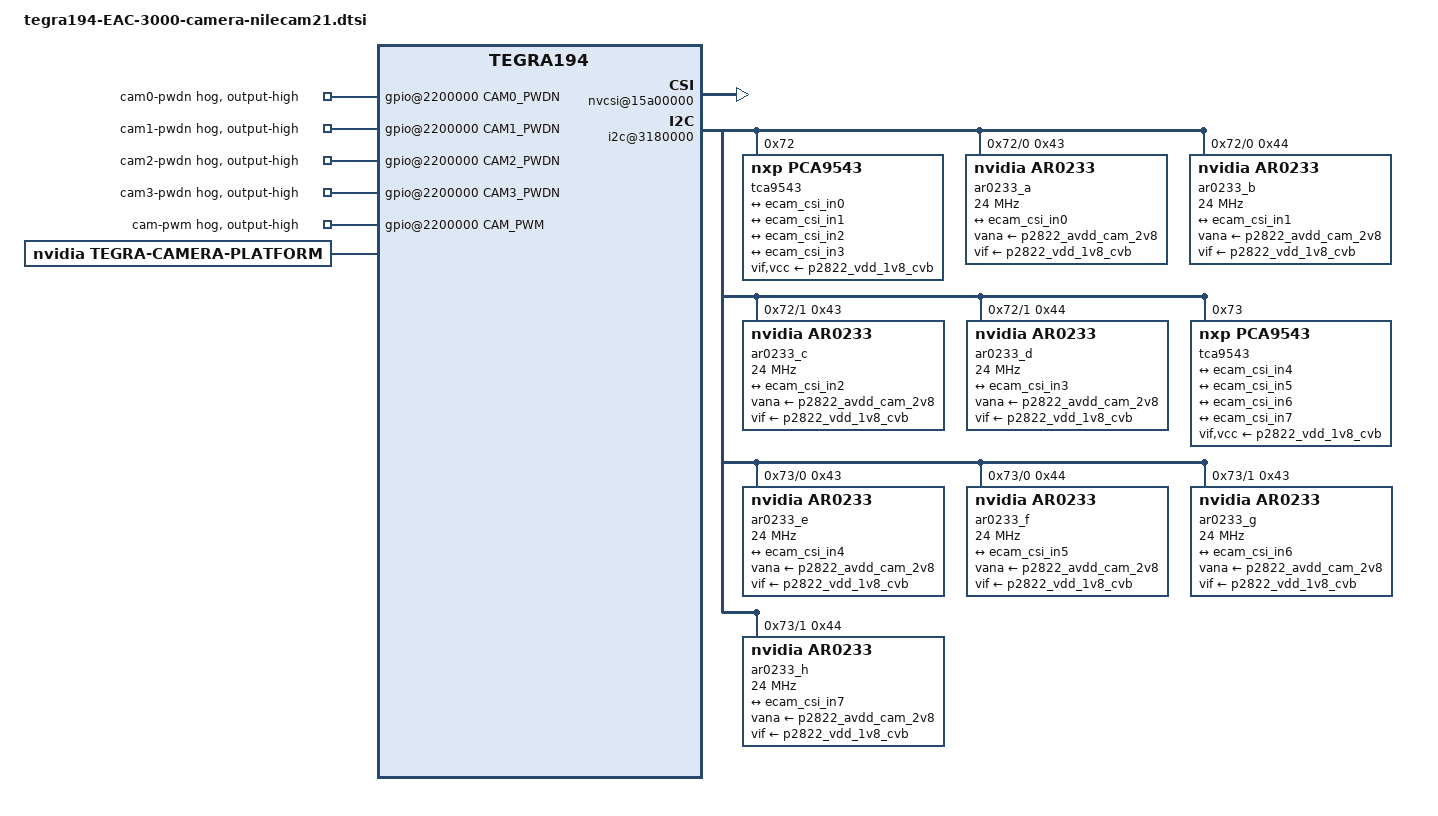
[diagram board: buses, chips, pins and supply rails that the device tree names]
/* Econ device tree for AR0233 support */

#include "dt-bindings/clock/tegra194-clock.h"

#define CAM0_PWDN	TEGRA194_MAIN_GPIO(H, 6)
#define CAM1_PWDN	TEGRA194_MAIN_GPIO(T, 5)
#define CAM2_PWDN	TEGRA194_MAIN_GPIO(H, 3)
#define CAM3_PWDN	TEGRA194_MAIN_GPIO(T, 6)
#define CAM_PWM	TEGRA194_MAIN_GPIO(P, 5)
#define CAM_I2C_MUX 	TEGRA194_AON_GPIO(CC, 3)
#define CAMERA_I2C_MUX_BUS(x) (0x1E + x)

#define CAM_LANES 4
#define CAM_LANES_STRING "4"

/ {
	gpio@2200000 {
		camera-control-0_output-high {
                        status = "okay";
                        gpio-hog;
                        gpios = <CAM0_PWDN 0>;
                        output-high;
                        label = "cam0-pwdn";
                };
		camera-control-1_output-high {
                        status = "okay";
                        gpio-hog;
                        gpios = <CAM1_PWDN 0>;
                        output-high;
                        label = "cam1-pwdn";
                };
		camera-control-2_output-high {
                        status = "okay";
                        gpio-hog;
                        gpios = <CAM2_PWDN 0>;
                        output-high;
                        label = "cam2-pwdn";
                };
		camera-control-3_output-high {
                        status = "okay";
                        gpio-hog;
                        gpios = <CAM3_PWDN 0>;
                        output-high;
                        label = "cam3-pwdn";
                };
		camera-control-4_output-high {
                        status = "okay";
                        gpio-hog;
                        gpios = <CAM_PWM 0>;
                        output-high;
                        label = "cam-pwm";
                };
	};
     
    // all cameras are disabled by default 
     capture_vi_base: tegra-capture-vi  {
			num-channels = <8>;
			#address-cells = <1>;
			#size-cells = <0>;
			status = "okay";
			ports {
				#address-cells = <1>;
				#size-cells = <0>;
				port@0 {
					reg = <0>;
					status = "okay";
					ecam_vi_in0: endpoint {
						status = "okay";
						vc-id = <1>;
						port-index = <0>;
						bus-width = <CAM_LANES>;
						remote-endpoint = <&ecam_csi_out0>;
					};
				};
				port@1 {
                                        reg = <1>;
					status = "okay";
                                        ecam_vi_in1: endpoint {
						status = "okay";
						vc-id = <0>;
                                                port-index = <0>;
                                                bus-width = <CAM_LANES>;
                                                remote-endpoint = <&ecam_csi_out1>;
                                        };
                                };
                                port@2 {
                                        reg = <2>;
					status = "okay";
                                        ecam_vi_in2: endpoint {
						status = "okay";
						vc-id = <1>;
                                                port-index = <2>;
                                                bus-width = <CAM_LANES>;
                                                remote-endpoint = <&ecam_csi_out2>;
                                        };
                                };
				port@3 {
                                        reg = <3>;
					status = "okay";
                                        ecam_vi_in3: endpoint {
						status = "okay";
						vc-id = <0>;
                                                port-index = <2>;
                                                bus-width = <CAM_LANES>;
                                                remote-endpoint = <&ecam_csi_out3>;
                                        };
                                };
				port@4 {
                                        reg = <4>;
					status = "okay";
                                        ecam_vi_in4: endpoint {
						status = "okay";
						vc-id = <1>;
                                                port-index = <4>;
                                                bus-width = <CAM_LANES>;
                                                remote-endpoint = <&ecam_csi_out4>;
                                        };
                                };
				port@5 {
                                        reg = <5>;
					 status = "okay";
                                        ecam_vi_in5: endpoint {
						status = "okay";
						vc-id = <0>;
                                                port-index = <4>;
                                                bus-width = <CAM_LANES>;
                                                remote-endpoint = <&ecam_csi_out5>;
                                        };
                                };
				port@6 {
                                        reg = <6>;
					status = "okay";
                                        ecam_vi_in6: endpoint {
						status = "okay";
						//vc-id = <1>;
                                                port-index = <5>;
                                                bus-width = <CAM_LANES>;
                                                remote-endpoint = <&ecam_csi_out6>;
                                        };
                                };
				port@7 {
                                        reg = <7>;
					status = "okay";
                                        ecam_vi_in7: endpoint {
						status = "okay";
						vc-id = <0>;
                                                port-index = <5>;
                                                bus-width = <CAM_LANES>;
                                                remote-endpoint = <&ecam_csi_out7>;
                                        };
                                };

			};
		};

	host1x@13e00000 {

		nvcsi@15a00000 {
			num-channels = <8>;
			#address-cells = <1>;
			#size-cells = <0>;
			status = "okay";
	    		channel@0 {
				reg = <0>;
				status = "okay";
				ports {
					#address-cells = <1>;
					#size-cells = <0>;
					port@0 {
						reg = <0>;
						status = "okay";
						ecam_csi_in0: endpoint@0 {
							status = "okay";
							port-index = <0>;
							bus-width = <CAM_LANES>;
							remote-endpoint = <&ecam_ar0233_out0>;
						};
					};
					port@1 {
						reg = <1>;
						status = "okay";
						ecam_csi_out0: endpoint@1 {
							status = "okay";
							remote-endpoint = <&ecam_vi_in0>;
						};
					};
				};
			};
                        channel@1 {
                                reg = <1>;
				status = "okay";
                                ports {
                                        #address-cells = <1>;
                                        #size-cells = <0>;
                                        port@0 {
                                                reg = <0>;
						status = "okay";
                                                ecam_csi_in1: endpoint@2 {
							status = "okay";
                                                        port-index = <0>;
                                                        bus-width = <CAM_LANES>;
                                                        remote-endpoint = <&ecam_ar0233_out1>;
                                                };
                                        };
                                        port@1 {
                                                reg = <1>;
						status = "okay";
                                                ecam_csi_out1: endpoint@3 {
							status = "okay";
                                                        remote-endpoint = <&ecam_vi_in1>;
                                                };
                                        };
                                };
                        };
                        channel@2 {
                                reg = <2>;
				status = "okay";
                                ports {
                                        #address-cells = <1>;
                                        #size-cells = <0>;
                                        port@0 {
                                                reg = <0>;
						status = "okay";
                                                ecam_csi_in2: endpoint@4 {
							status = "okay";
                                                        port-index = <2>;
                                                        bus-width = <CAM_LANES>;
                                                        remote-endpoint = <&ecam_ar0233_out2>;
                                                };
                                        };
                                        port@1 {
                                                reg = <1>;
						status = "okay";
                                                ecam_csi_out2: endpoint@5 {
							status = "okay";
                                                        remote-endpoint = <&ecam_vi_in2>;
                                                };
                                        };
                                };
                        };
			channel@3 {
                                reg = <3>;
				status = "okay";
                                ports {
                                        #address-cells = <1>;
                                        #size-cells = <0>;
                                        port@0 {
                                                reg = <0>;
						status = "okay";
                                                ecam_csi_in3: endpoint@6 {
							status = "okay";
                                                        port-index = <2>;
                                                        bus-width = <CAM_LANES>;
                                                        remote-endpoint = <&ecam_ar0233_out3>;
                                                };
                                        };
                                        port@1 {
                                                reg = <1>;
						status = "okay";
                                                ecam_csi_out3: endpoint@7 {
							status = "okay";
                                                        remote-endpoint = <&ecam_vi_in3>;
                                                };
                                        };
                                };
                        };
			channel@4 {
                                reg = <4>;
				status = "okay";
                                ports {
                                        #address-cells = <1>;
                                        #size-cells = <0>;
                                        port@0 {
                                                reg = <0>;
						status = "okay";
                                                ecam_csi_in4: endpoint@8 {
							status = "okay";
                                                        port-index = <4>;
                                                        bus-width = <CAM_LANES>;
                                                        remote-endpoint = <&ecam_ar0233_out4>;
                                                };
                                        };
                                        port@1 {
                                                reg = <1>;
						status = "okay";
                                                ecam_csi_out4: endpoint@9 {
							status = "okay";
                                                        remote-endpoint = <&ecam_vi_in4>;
                                                };
                                        };
                                };
                        };
			channel@5 {
				reg = <5>;
				status = "okay";
				ports {
					#address-cells = <1>;
					#size-cells = <0>;
					port@0 {
						reg = <0>;
						status = "okay";
						ecam_csi_in5: endpoint@10 {
							status = "okay";
							port-index = <4>;
							bus-width = <CAM_LANES>;
							remote-endpoint = <&ecam_ar0233_out5>;
						};
					};
					port@1 {
						reg = <1>;
						status = "okay";
						ecam_csi_out5: endpoint@11 {
							status = "okay";
							remote-endpoint = <&ecam_vi_in5>;
						};
					};
				};
			};
			channel@6 {
				reg = <6>;
				status = "okay";
				ports {
					#address-cells = <1>;
					#size-cells = <0>;
					port@0 {
						reg = <0>;
						status = "okay";
						ecam_csi_in6: endpoint@12 {
							status = "okay";
							port-index = <6>;
							bus-width = <CAM_LANES>;
							remote-endpoint = <&ecam_ar0233_out6>;
						};
					};
					port@1 {
						reg = <1>;
						status = "okay";
						ecam_csi_out6: endpoint@13 {
							status = "okay";
							remote-endpoint = <&ecam_vi_in6>;
						};
					};
				};
			};
			channel@7 {
				reg = <7>;
				status = "okay";
				ports {
					#address-cells = <1>;
					#size-cells = <0>;
					port@0 {
						reg = <0>;
						status = "okay";
						ecam_csi_in7: endpoint@14 {
							status = "okay";
							port-index = <6>;
							bus-width = <CAM_LANES>;
							remote-endpoint = <&ecam_ar0233_out7>;
						};
					};
					port@1 {
						reg = <1>;	
						status = "okay";
						ecam_csi_out7: endpoint@15 {
							status = "okay";
							remote-endpoint = <&ecam_vi_in7>;
						};
					};
				};
			};

		};
	};

	fixed-regulators {
			p2822_vdd_1v8_cvb: regulator@102 {
					regulator-always-on;
			};
	};


	i2c@3180000 {
		status = "okay";
		#address-cells = <1>;
		#size-cells = <0>;
		tca9543@72 {
			compatible = "nxp,pca9543";
			reg = <0x72>;
			#address-cells = <1>;
			#size-cells = <0>;
			vif-supply = <&p2822_vdd_1v8_cvb>;
			vcc-supply = <&p2822_vdd_1v8_cvb>;
			skip_mux_detect;
			force_bus_start = <CAMERA_I2C_MUX_BUS(0)>;
			i2c@0 {
				reg = <0>;
				i2c-mux,deselect-on-exit;
				#address-cells = <1>;
				#size-cells = <0>;
				status = "okay";
				ar0233_a@43 {
					status = "okay";
					compatible = "nvidia,ar0233";
					reg = <0x43>;
					sensor_model ="ar0233";
					avdd-reg = "vana";
					iovdd-reg = "vif";
					clocks = <&bpmp_clks  TEGRA194_CLK_EXTPERIPH1>,
							 <&bpmp_clks TEGRA194_CLK_PLLP_OUT0>;
					clock-names = "extperiph1", "pllp_grtba";
					mclk = "extperiph1";
					clock-frequency = <24000000>;
					//reset-gpios = <&tegra_main_gpio CAM0_PWDN GPIO_ACTIVE_HIGH>;
					vana-supply = <&p2822_avdd_cam_2v8>;
					vif-supply = <&p2822_vdd_1v8_cvb>;
					use_sensor_mode_id = "false";
					camera_mipi_lanes = <2>;
					sio-port = "A";
#define VC_ID "1"				
#define TEGRA_SINTERFACE "serial_a"
#include "nilecam21_cuxvr_mode.dtsi"
					ports {
						#address-cells = <1>;
						#size-cells = <0>;
						port@0 {
							reg = <0>;
							ecam_ar0233_out0: endpoint {
								vc-id = <1>;
								port-index = <0>;
								bus-width = <CAM_LANES>;
								remote-endpoint = <&ecam_csi_in0>;
								};
							};
						};
					};
				ar0233_b@44 {
					status = "okay";
					compatible = "nvidia,ar0233";
					reg = <0x44>;
					//reg_mux = <0>;
					sensor_model ="ar0233";
					avdd-reg = "vana";
					iovdd-reg = "vif";
					clocks = <&bpmp_clks  TEGRA194_CLK_EXTPERIPH1>,
							 <&bpmp_clks TEGRA194_CLK_PLLP_OUT0>;
					clock-names = "extperiph1", "pllp_grtba";
					mclk = "extperiph1";
					clock-frequency = <24000000>;
				        //reset-gpios = <&tegra_main_gpio CAM0_PWDN GPIO_ACTIVE_HIGH>; 
					vana-supply = <&p2822_avdd_cam_2v8>;
					vif-supply = <&p2822_vdd_1v8_cvb>;
					use_sensor_mode_id = "false";
					camera_mipi_lanes = <2>;	
					sio-port = "B";
#undef VC_ID
#define VC_ID "0"		
#undef TEGRA_SINTERFACE	
#define TEGRA_SINTERFACE "serial_a"
#include "nilecam21_cuxvr_mode.dtsi"
					ports {
						#address-cells = <1>;
						#size-cells = <0>;
						port@0 {
							reg = <0>;
							ecam_ar0233_out1: endpoint {
								vc-id = <0>;
								port-index = <0>;
								bus-width = <CAM_LANES>;
								remote-endpoint = <&ecam_csi_in1>;
								};
							};
						};
					};
				};

			i2c@1 {
				reg = <1>;
				i2c-mux,deselect-on-exit;
				#address-cells = <1>;
				#size-cells = <0>;
				status = "okay";
				ar0233_c@43 {
					status = "okay";
					compatible = "nvidia,ar0233";
					reg = <0x43>;
					//reg_mux = <1>;
					sensor_model ="ar0233";
					avdd-reg = "vana";
					iovdd-reg = "vif";
					clocks = <&bpmp_clks  TEGRA194_CLK_EXTPERIPH1>,
							 <&bpmp_clks TEGRA194_CLK_PLLP_OUT0>;
					clock-names = "extperiph1", "pllp_grtba";
					mclk = "extperiph1";
					clock-frequency = <24000000>;
					//reset-gpios = <&tegra_main_gpio CAM1_PWDN GPIO_ACTIVE_HIGH>;
					vana-supply = <&p2822_avdd_cam_2v8>;
					vif-supply = <&p2822_vdd_1v8_cvb>;
					use_sensor_mode_id = "false";
					camera_mipi_lanes = <2>;
					sio-port = "A";
#undef VC_ID
#define VC_ID "1"	
#undef TEGRA_SINTERFACE	
#define TEGRA_SINTERFACE "serial_c"
#include "nilecam21_cuxvr_mode.dtsi"	
					ports {
						#address-cells = <1>;
						#size-cells = <0>;
						port@0 {
							reg = <0>;
							ecam_ar0233_out2: endpoint {
								vc-id = <1>;
								port-index = <2>;
								bus-width = <CAM_LANES>;
								remote-endpoint = <&ecam_csi_in2>;
								};
							};
						};
				};
				ar0233_d@44 {
					status = "okay";
					compatible = "nvidia,ar0233";
					reg = <0x44>;
					//reg_mux = <1>;
					sensor_model ="ar0233";
					avdd-reg = "vana";
					iovdd-reg = "vif";
					clocks = <&bpmp_clks  TEGRA194_CLK_EXTPERIPH1>,
							 <&bpmp_clks TEGRA194_CLK_PLLP_OUT0>;
					clock-names = "extperiph1", "pllp_grtba";
					mclk = "extperiph1";
					clock-frequency = <24000000>;
					//reset-gpios = <&tegra_main_gpio CAM1_PWDN GPIO_ACTIVE_HIGH>;
					vana-supply = <&p2822_avdd_cam_2v8>;
					vif-supply = <&p2822_vdd_1v8_cvb>;
					use_sensor_mode_id = "true";
					camera_mipi_lanes = <2>;	
					sio-port = "B";
#undef VC_ID
#define VC_ID "0"	
#undef TEGRA_SINTERFACE	
#define TEGRA_SINTERFACE "serial_c"
#include "nilecam21_cuxvr_mode.dtsi"	
					ports {
						#address-cells = <1>;
						#size-cells = <0>;
						port@0 {
							reg = <0>;
							ecam_ar0233_out3: endpoint {
								vc-id = <0>;
								port-index = <2>;
								bus-width = <CAM_LANES>;
								remote-endpoint = <&ecam_csi_in3>;
								};
							};
						};
					};
				};
			};
		tca9543@73 {
			compatible = "nxp,pca9543";
			reg = <0x73>;
			#address-cells = <1>;
			#size-cells = <0>;
			skip_mux_detect;
			vif-supply = <&p2822_vdd_1v8_cvb>;
			vcc-supply = <&p2822_vdd_1v8_cvb>;
			vcc_lp = "vcc";
			force_bus_start = <CAMERA_I2C_MUX_BUS(2)>;
			i2c@0 {
				reg = <0>;
				i2c-mux,deselect-on-exit;
				#address-cells = <1>;
				#size-cells = <0>;
				status = "okay";
				ar0233_e@43 {
					status = "okay";
					compatible = "nvidia,ar0233";
					reg = <0x43>;
					sensor_model ="ar0233";
					avdd-reg = "vana";
					iovdd-reg = "vif";
					clocks = <&bpmp_clks  TEGRA194_CLK_EXTPERIPH1>,
							 <&bpmp_clks TEGRA194_CLK_PLLP_OUT0>;
					clock-names = "extperiph1", "pllp_grtba";
					mclk = "extperiph1";
					clock-frequency = <24000000>;
					//reset-gpios = <&tegra_main_gpio CAM2_PWDN GPIO_ACTIVE_HIGH>;
 					vana-supply = <&p2822_avdd_cam_2v8>;
					vif-supply = <&p2822_vdd_1v8_cvb>;
					use_sensor_mode_id = "false";
					camera_mipi_lanes = <2>;	
					sio-port = "A";
#undef VC_ID
#define VC_ID "1"	
#undef TEGRA_SINTERFACE	
#define TEGRA_SINTERFACE "serial_e"
#include "nilecam21_cuxvr_mode.dtsi"	
					ports {
						#address-cells = <1>;
						#size-cells = <0>;
						port@0 {
							reg = <0>;
							ecam_ar0233_out4: endpoint {
								vc-id = <1>;
								port-index = <4>;
								bus-width = <CAM_LANES>;
								remote-endpoint = <&ecam_csi_in4>;
								};
							};
						};
					};
				ar0233_f@44 {
					status = "okay";
					compatible = "nvidia,ar0233";
					reg = <0x44>;
					//reg_mux = <2>;
					sensor_model ="ar0233";
					avdd-reg = "vana";
					iovdd-reg = "vif";
					clocks = <&bpmp_clks  TEGRA194_CLK_EXTPERIPH1>,
							 <&bpmp_clks TEGRA194_CLK_PLLP_OUT0>;
					clock-names = "extperiph1", "pllp_grtba";
					mclk = "extperiph1";
					clock-frequency = <24000000>;
					//reset-gpios = <&tegra_main_gpio CAM2_PWDN GPIO_ACTIVE_HIGH>;
					vana-supply = <&p2822_avdd_cam_2v8>;
					vif-supply = <&p2822_vdd_1v8_cvb>;
					use_sensor_mode_id = "false";
					camera_mipi_lanes = <2>;	
					sio-port = "B";
#undef VC_ID
#define VC_ID "0"	
#undef TEGRA_SINTERFACE	
#define TEGRA_SINTERFACE "serial_e"
#include "nilecam21_cuxvr_mode.dtsi"	
					ports {
						#address-cells = <1>;
						#size-cells = <0>;
						port@0 {
							reg = <0>;
							ecam_ar0233_out5: endpoint {
								vc-id = <0>;
								port-index = <4>;
								bus-width = <CAM_LANES>;
								remote-endpoint = <&ecam_csi_in5>;
								};
							};
						};
					};
				};
				i2c@1 {
				reg = <1>;
				i2c-mux,deselect-on-exit;
				#address-cells = <1>;
				#size-cells = <0>;
				status = "okay";
				ar0233_g@43 {
					status = "okay";
					compatible = "nvidia,ar0233";
					reg = <0x43>;
					//reg_mux = <3>;
					sensor_model ="ar0233";
					avdd-reg = "vana";
					iovdd-reg = "vif";
					clocks = <&bpmp_clks  TEGRA194_CLK_EXTPERIPH1>,
							 <&bpmp_clks TEGRA194_CLK_PLLP_OUT0>;
					clock-names = "extperiph1", "pllp_grtba";
					mclk = "extperiph1";
					clock-frequency = <24000000>;
					//reset-gpios = <&tegra_main_gpio CAM3_PWDN GPIO_ACTIVE_HIGH>;
 					vana-supply = <&p2822_avdd_cam_2v8>;
					vif-supply = <&p2822_vdd_1v8_cvb>;
					use_sensor_mode_id = "false";
					camera_mipi_lanes = <2>;	
					sio-port = "A";
#undef VC_ID
#define VC_ID "1"	
#undef TEGRA_SINTERFACE	
#define TEGRA_SINTERFACE "serial_g"
#include "nilecam21_cuxvr_mode.dtsi"	
					ports {
						#address-cells = <1>;
						#size-cells = <0>;
						port@0 {
							reg = <0>;
							ecam_ar0233_out6: endpoint {
								vc-id = <1>;
								port-index = <6>;
								bus-width = <CAM_LANES>;
								remote-endpoint = <&ecam_csi_in6>;
								};
							};
						};
					};
				ar0233_h@44 {
					status = "okay";
					compatible = "nvidia,ar0233";
					reg = <0x44>;
					//reg_mux = <3>;
					sensor_model ="ar0233";
					avdd-reg = "vana";
					iovdd-reg = "vif";
					clocks = <&bpmp_clks  TEGRA194_CLK_EXTPERIPH1>,
							 <&bpmp_clks TEGRA194_CLK_PLLP_OUT0>;
					clock-names = "extperiph1",  "pllp_grtba";
					mclk = "extperiph1";
					clock-frequency = <24000000>;
					//reset-gpios = <&tegra_main_gpio CAM3_PWDN GPIO_ACTIVE_HIGH>;
					vana-supply = <&p2822_avdd_cam_2v8>;
					vif-supply = <&p2822_vdd_1v8_cvb>;
					use_sensor_mode_id = "false";
					camera_mipi_lanes = <2>;	
					sio-port = "B";
#undef VC_ID
#define VC_ID "0"	
#undef TEGRA_SINTERFACE	
#define TEGRA_SINTERFACE "serial_g"
#include "nilecam21_cuxvr_mode.dtsi"	
					ports {
						#address-cells = <1>;
						#size-cells = <0>;
						port@0 {
							reg = <0>;
							ecam_ar0233_out7: endpoint {
								vc-id = <0>;
								port-index = <6>;
								bus-width = <CAM_LANES>;
								remote-endpoint = <&ecam_csi_in7>;
								};
							};
						};
					};
				};
			};
		};
	};
/ {
	tegra-camera-platform {
		compatible = "nvidia, tegra-camera-platform";
		/**
		* Physical settings to calculate max ISO BW
		*
		* num_csi_lanes = <>;
		* Total number of CSI lanes when all cameras are active
		*
		* max_lane_speed = <>;
		* Max lane speed in Kbit/s
		*
		* min_bits_per_pixel = <>;
		* Min bits per pixel
		*
		* vi_peak_byte_per_pixel = <>;
		* Max byte per pixel for the VI ISO case
		*
		* vi_bw_margin_pct = <>;
		* Vi bandwidth margin in percentage
		*
		* max_pixel_rate = <>;
		* Max pixel rate in Kpixel/s for the ISP ISO case
		*
		* isp_peak_byte_per_pixel = <>;
		* Max byte per pixel for the ISP ISO case
		*
		* isp_bw_margin_pct = <>;
		* Isp bandwidth margin in percentage
		*/
		num_csi_lanes = <8>;
		max_lane_speed = <2500000>;
		min_bits_per_pixel = <16>;
		vi_peak_byte_per_pixel = <2>;
		vi_bw_margin_pct = <67>;
		max_pixel_rate = <750000>;
		isp_peak_byte_per_pixel = <5>;
		isp_bw_margin_pct = <25>;

		/**
		 * The general guideline for naming badge_info contains 3 parts, and is as follows,
		 * The first part is the camera_board_id for the module; if the module is in a FFD
		 * platform, then use the platform name for this part.
		 * The second part contains the position of the module, ex. "rear" or "front".
		 * The third part contains the last 6 characters of a part number which is found
		 * in the module's specsheet from the vender.
		 */
		modules {

			module0 {
				badge = "NileCAM21_CUXVR-1";
				position = "rear";
				orientation = "1";
				drivernode0 {
					pcl_id = "v4l2_sensor";
					devname = "ar0233 30-0043";
					proc-device-tree = "/proc/device-tree/i2c@3180000/tca9543@72/i2c@0/ar0233_a@43";
					status = "okay";
};
			};

			module1 {
				badge = "NileCAM21_CUXVR-2";
				position = "front";
				orientation = "1";
				drivernode0 {
					/* Declare PCL support driver (classically known as guid)  */
					pcl_id = "v4l2_sensor";
					/* Driver v4l2 device name */
					devname = "ar0233 30-0044";
					/* Declare the device-tree hierarchy to driver instance */
					proc-device-tree = "/proc/device-tree/i2c@3180000/tca9543@72/i2c@0/ar0233_b@44";
					status = "okay";
};
			};

			module2 {
				badge = "NileCAM21_CUXVR-3";
				position = "topright";
				orientation = "1";
				drivernode0 {
					pcl_id = "v4l2_sensor";
					devname = "ar0233 31-0043";
					proc-device-tree = "/proc/device-tree/i2c@3180000/tca9543@72/i2c@1/ar0233_c@43";
					status = "okay";
};
			};

			module3 {
				badge = "NileCAM21_CUXVR-4";
				position = "bottomright";
				orientation = "1";
				drivernode0 {
					pcl_id = "v4l2_sensor";
					devname = "ar0233 31-0044";
					proc-device-tree = "/proc/device-tree/i2c@3180000/tca9543@72/i2c@1/ar0233_d@44";
					status = "okay";
};
			};
			module4 {
				badge = "NileCAM21_CUXVR-5";
				position = "topleft";
				orientation = "1";
				drivernode0 {
					pcl_id = "v4l2_sensor";
					devname = "ar0233 32-0043";
					proc-device-tree = "/proc/device-tree/i2c@3180000/tca9543@73/i2c@0/ar0233_e@43";
					status = "okay";
};
			};

			module5 {
				badge = "NileCAM21_CUXVR-6";
				position = "centerright";
				orientation = "1";
				drivernode0 {
					pcl_id = "v4l2_sensor";
					devname = "ar0233 32-0044";
					proc-device-tree = "/proc/device-tree/i2c@3180000/tca9543@73/i2c@0/ar0233_f@44";
					status = "okay";
};
			};
			module6 {
				badge = "NileCAM21_CUXVR-7";
				position = "centerleft";
				orientation = "1";
				drivernode0 {
					pcl_id = "v4l2_sensor";
					devname = "ar0233 33-0043";
					proc-device-tree = "/proc/device-tree/i2c@3180000/tca9543@73/i2c@1/ar0233_g@43";
				status = "okay";
};
			};

			module7 {
				badge = "NileCAM21_CUXVR-8";
				position = "bottomleft";
				orientation = "1";
				drivernode0 {
					pcl_id = "v4l2_sensor";
					devname = "ar0233 33-0044";
					proc-device-tree = "/proc/device-tree/i2c@3180000/tca9543@73/i2c@1/ar0233_h@44";
					status = "okay";
};
			};
                 };
	};
};
			
		

				

			

				



